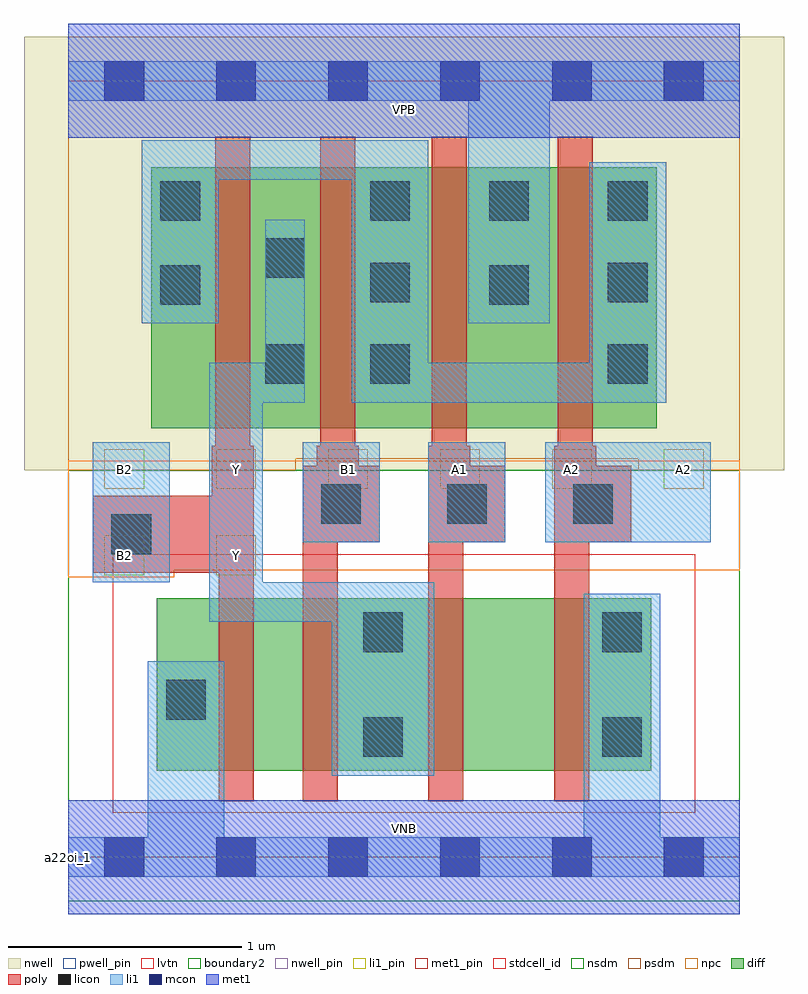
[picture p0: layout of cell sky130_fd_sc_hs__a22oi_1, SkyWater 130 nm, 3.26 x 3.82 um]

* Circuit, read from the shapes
.subckt sky130_fd_sc_hs__a22oi_1 A1 A2 B1 B2 VGND VNB VPB VPWR Y
XM1 n1 B2 VGND VNB sky130_fd_pr__nfet_01v8_lvt w=0.74 l=0.15
XM2 Y B1 n1 VNB sky130_fd_pr__nfet_01v8_lvt w=0.74 l=0.15
XM3 n2 A1 Y VNB sky130_fd_pr__nfet_01v8_lvt w=0.74 l=0.15
XM4 VGND A2 n2 VNB sky130_fd_pr__nfet_01v8_lvt w=0.74 l=0.15
XM5 Y B2 n3 VPB sky130_fd_pr__pfet_01v8 w=1.12 l=0.15
XM6 n3 B1 Y VPB sky130_fd_pr__pfet_01v8 w=1.12 l=0.15
XM7 VPWR A1 n3 VPB sky130_fd_pr__pfet_01v8 w=1.12 l=0.15
XM8 n3 A2 VPWR VPB sky130_fd_pr__pfet_01v8 w=1.12 l=0.15
.ends

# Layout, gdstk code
import gdstk
lib = gdstk.Library(unit=1e-6, precision=1e-09)
def R(c, l, rs):  # rectangles x0, y0, x1, y1
    for r in rs: c.add(gdstk.rectangle(r[:2], r[2:], *l))
def A(c, l, x, y, w, h, nx, ny, dx, dy):  # array of equal rectangles
    R(c, l, [(x+i*dx, y+j*dy, x+i*dx+w, y+j*dy+h) for i in range(nx) for j in range(ny)])
def P(c, l, *ps):  # polygons
    for p in ps: c.add(gdstk.Polygon(p, *l))
nwell_pin = (64, 16)
nwell = (64, 20)
diff = (65, 20)
poly = (66, 20)
licon = (66, 44)
li1_pin = (67, 16)
li1 = (67, 20)
mcon = (67, 44)
met1_pin = (68, 16)
met1 = (68, 20)
stdcell_id = (81, 4)
nsdm = (93, 44)
psdm = (94, 20)
npc = (95, 20)
pwell_pin = (122, 16)
lvtn = (125, 44)
boundary2 = (236, 0)

sky130_fd_sc_hs__a22oi_1 = lib.new_cell('sky130_fd_sc_hs__a22oi_1')
R(sky130_fd_sc_hs__a22oi_1, nwell_pin, [(0,3.085,2.88,3.33)])
R(sky130_fd_sc_hs__a22oi_1, nwell, [(-0.19,1.66,3.07,3.52)])
R(sky130_fd_sc_hs__a22oi_1, diff, [(0.38,0.37,2.5,1.11), (0.355,1.84,2.525,2.96)])
P(sky130_fd_sc_hs__a22oi_1, poly, [(2.415,1.68),(2.265,1.68),(2.265,1.765),(2.25,1.765),(2.25,3.09),(2.1,3.09),(2.1,1.765),(2.085,1.765),(2.085,0.24),(2.235,0.24),(2.235,1.35),(2.415,1.35)],
  [(1.875,1.68),(1.725,1.68),(1.725,1.765),(1.71,1.765),(1.71,3.09),(1.56,3.09),(1.56,1.765),(1.545,1.765),(1.545,0.24),(1.695,0.24),(1.695,1.35),(1.875,1.35)],
  [(1.335,1.68),(1.245,1.68),(1.245,1.765),(1.23,1.765),(1.23,3.09),(1.08,3.09),(1.08,1.765),(1.065,1.765),(1.065,1.68),(1.005,1.68),(1.005,0.24),(1.155,0.24),(1.155,1.35),(1.335,1.35)],
  [(0.795,1.765),(0.78,1.765),(0.78,3.09),(0.63,3.09),(0.63,1.765),(0.615,1.765),(0.615,1.55),(0.105,1.55),(0.105,1.22),(0.645,1.22),(0.645,0.24),(0.795,0.24)])
A(sky130_fd_sc_hs__a22oi_1, licon, 1.085, 1.43, 0.17, 0.17, 3, 1, 0.54, 0)
A(sky130_fd_sc_hs__a22oi_1, licon, 1.295, 2.73, 0.17, 0.17, 3, 1, 0.51, 0)
R(sky130_fd_sc_hs__a22oi_1, licon, [(1.265,0.43,1.435,0.6), (2.29,0.43,2.46,0.6), (0.42,0.59,0.59,0.76), (1.265,0.88,1.435,1.05), (2.29,0.88,2.46,1.05), (0.185,1.3,0.355,1.47), (0.845,2.03,1.015,2.2), (1.295,2.03,1.465,2.2), (2.315,2.03,2.485,2.2), (0.395,2.37,0.565,2.54), (1.805,2.37,1.975,2.54), (1.295,2.38,1.465,2.55), (2.315,2.38,2.485,2.55), (0.845,2.485,1.015,2.655), (0.395,2.73,0.565,2.9)])
A(sky130_fd_sc_hs__a22oi_1, li1_pin, 0.155, 1.58, 0.17, 0.17, 6, 1, 0.48, 0)
R(sky130_fd_sc_hs__a22oi_1, li1_pin, [(0.155,1.21,0.325,1.38), (0.635,1.21,0.805,1.38)])
R(sky130_fd_sc_hs__a22oi_1, li1, [(0.105,1.18,0.435,1.78), (1.005,1.35,1.335,1.78), (1.545,1.35,1.875,1.78), (2.045,1.35,2.755,1.78)])
P(sky130_fd_sc_hs__a22oi_1, li1, [(1.715,2.29),(1.715,3.245),(0,3.245),(0,3.415),(2.88,3.415),(2.88,3.245),(2.065,3.245),(2.065,2.29)],
  [(2.21,0.085),(2.21,1.13),(2.54,1.13),(2.54,0.085),(2.88,0.085),(2.88,-0.085),(0,-0.085),(0,0.085),(0.34,0.085),(0.34,0.84),(0.67,0.84),(0.67,0.085)],
  [(0.835,1.18),(1.57,1.18),(1.57,0.35),(1.13,0.35),(1.13,1.01),(0.605,1.01),(0.605,2.12),(0.845,2.12),(0.845,2.735),(1.015,2.735),(1.015,1.95),(0.835,1.95)],
  [(1.215,1.95),(1.215,2.905),(0.645,2.905),(0.645,2.29),(0.315,2.29),(0.315,3.075),(1.545,3.075),(1.545,2.12),(2.235,2.12),(2.235,2.98),(2.565,2.98),(2.565,1.95)])
A(sky130_fd_sc_hs__a22oi_1, mcon, 0.155, -0.085, 0.17, 0.17, 6, 2, 0.48, 3.33)
R(sky130_fd_sc_hs__a22oi_1, met1_pin, [(0,0,2.88,0.245), (0,3.085,2.88,3.33)])
R(sky130_fd_sc_hs__a22oi_1, met1, [(0,-0.245,2.88,0.245), (0,3.085,2.88,3.575)])
R(sky130_fd_sc_hs__a22oi_1, stdcell_id, [(0,0,2.88,3.33)])
R(sky130_fd_sc_hs__a22oi_1, nsdm, [(0,-0.19,2.88,1.66)])
P(sky130_fd_sc_hs__a22oi_1, psdm, [(2.88,3.52),(0,3.52),(0,1.66),(0.975,1.66),(0.975,1.71),(2.445,1.71),(2.445,1.66),(2.88,1.66)])
P(sky130_fd_sc_hs__a22oi_1, npc, [(2.88,1.7),(0,1.7),(0,1.2),(0.455,1.2),(0.455,1.23),(2.88,1.23)])
R(sky130_fd_sc_hs__a22oi_1, pwell_pin, [(0,0,2.88,0.245)])
R(sky130_fd_sc_hs__a22oi_1, lvtn, [(0.19,0.19,2.69,1.3)])
R(sky130_fd_sc_hs__a22oi_1, boundary2, [(0,0,2.88,3.33)])
sky130_fd_sc_hs__a22oi_1.add(gdstk.Label('a22oi_1', (0,0), layer=83, texttype=44))
sky130_fd_sc_hs__a22oi_1.add(gdstk.Label('VNB', (1.44,0.123), layer=64, texttype=59))
sky130_fd_sc_hs__a22oi_1.add(gdstk.Label('VPB', (1.44,3.208), layer=64, texttype=5))
sky130_fd_sc_hs__a22oi_1.add(gdstk.Label('VPWR', (1.44,3.208), layer=68, texttype=5))
sky130_fd_sc_hs__a22oi_1.add(gdstk.Label('VGND', (1.44,0.123), layer=68, texttype=5))
sky130_fd_sc_hs__a22oi_1.add(gdstk.Label('B2', (0.24,1.295), layer=67, texttype=5))
sky130_fd_sc_hs__a22oi_1.add(gdstk.Label('B2', (0.24,1.665), layer=67, texttype=5))
sky130_fd_sc_hs__a22oi_1.add(gdstk.Label('Y', (0.72,1.295), layer=67, texttype=5))
sky130_fd_sc_hs__a22oi_1.add(gdstk.Label('Y', (0.72,1.665), layer=67, texttype=5))
sky130_fd_sc_hs__a22oi_1.add(gdstk.Label('B1', (1.2,1.665), layer=67, texttype=5))
sky130_fd_sc_hs__a22oi_1.add(gdstk.Label('A2', (2.16,1.665), layer=67, texttype=5))
sky130_fd_sc_hs__a22oi_1.add(gdstk.Label('A2', (2.64,1.665), layer=67, texttype=5))
sky130_fd_sc_hs__a22oi_1.add(gdstk.Label('A1', (1.68,1.665), layer=67, texttype=5))

lib.write_gds('sky130_fd_sc_hs__a22oi_1.gds')
